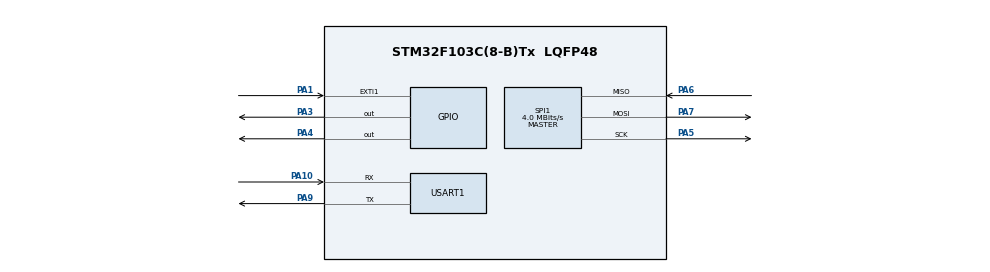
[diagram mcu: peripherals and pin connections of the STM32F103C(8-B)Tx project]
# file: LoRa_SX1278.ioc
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Mcu.Family=STM32F1
Mcu.Name=STM32F103C(8-B)Tx
Mcu.Package=LQFP48
NVIC.EXTI1_IRQn=true\:0\:0\:false\:false\:true\:true\:true\:true
NVIC.PriorityGroup=NVIC_PRIORITYGROUP_4
NVIC.RTC_Alarm_IRQn=true\:0\:0\:false\:false\:true\:true\:true\:true
PA1.Signal=GPXTI1
PA10.Mode=Asynchronous
PA10.Signal=USART1_RX
PA13.Mode=Serial_Wire
PA13.Signal=SYS_JTMS-SWDIO
PA14.Mode=Serial_Wire
PA14.Signal=SYS_JTCK-SWCLK
PA3.Signal=GPIO_Output
PA4.Signal=GPIO_Output
PA5.Mode=Full_Duplex_Master
PA5.Signal=SPI1_SCK
PA6.Mode=Full_Duplex_Master
PA6.Signal=SPI1_MISO
PA7.Mode=Full_Duplex_Master
PA7.Signal=SPI1_MOSI
PA9.Mode=Asynchronous
PA9.Signal=USART1_TX
PC14-OSC32_IN.Mode=LSE-External-Oscillator
PC14-OSC32_IN.Signal=RCC_OSC32_IN
PC15-OSC32_OUT.Mode=LSE-External-Oscillator
PC15-OSC32_OUT.Signal=RCC_OSC32_OUT
PD0-OSC_IN.Mode=HSE-External-Oscillator
PD0-OSC_IN.Signal=RCC_OSC_IN
PD1-OSC_OUT.Mode=HSE-External-Oscillator
PD1-OSC_OUT.Signal=RCC_OSC_OUT
ProjectManager.HeapSize=0x200
ProjectManager.StackSize=0x400
ProjectManager.TargetToolchain=STM32CubeIDE
RCC.APB1Freq_Value=8000000
RCC.APB2Freq_Value=8000000
SPI1.CalculateBaudRate=4.0 MBits/s
SPI1.Direction=SPI_DIRECTION_2LINES
SPI1.Mode=SPI_MODE_MASTER
SPI1.VirtualType=VM_MASTER
USART1.VirtualMode=VM_ASYNC
VP_RTC_VS_RTC_Activate.Mode=RTC_Enabled
VP_RTC_VS_RTC_Calendar.Mode=RTC_Calendar
board=custom

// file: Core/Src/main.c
/* USER CODE BEGIN Header */
/**
  ******************************************************************************
  * @file           : main.c
  * @brief          : Main program body
  ******************************************************************************
  * @attention
  *
  * Copyright (c) 2026 STMicroelectronics.
  * All rights reserved.
  *
  * This software is licensed under terms that can be found in the LICENSE file
  * in the root directory of this software component.
  * If no LICENSE file comes with this software, it is provided AS-IS.
  *
  ******************************************************************************
  */
/* USER CODE END Header */
#include "main.h"

/* USER CODE BEGIN Includes */
#include <stdio.h>
#include <string.h>
/* USER CODE END Includes */

/* USER CODE BEGIN PTD */
typedef struct __attribute__((packed)) {
    uint8_t  header;       // 1 byte: 0x03
    uint8_t  sensor_id;    // 1 byte: ID Nút cảm biến (0x24 = Nút số 36)
    uint8_t  router_id;    // 1 byte: ID Nút cha (0x01)
    int16_t  temperature;  // 2 byte: Nhiệt độ x100
    uint16_t humidity;     // 2 byte: Độ ẩm x100
    uint8_t  soil_moisture;// 1 byte: Độ ẩm đất
} LoRa_Data_Frame_t;
/* USER CODE END PTD */

RTC_HandleTypeDef hrtc;

SPI_HandleTypeDef hspi1;

UART_HandleTypeDef huart1;

/* USER CODE BEGIN PV */
#define MY_GATEWAY_ID 0x00         // Định danh của Trạm Trung Tâm

LoRa_Data_Frame_t rxFrame;
volatile uint8_t rxDoneFlag = 0;
volatile uint8_t txDoneFlag = 0;   // <--- Bổ sung lại dòng này!
char uartBuf[100];
/* USER CODE END PV */

void SystemClock_Config(void);
static void MX_GPIO_Init(void);
static void MX_RTC_Init(void);
static void MX_SPI1_Init(void);
static void MX_USART1_UART_Init(void);

/* USER CODE BEGIN 0 */
// ====================================================================
// DRIVER DHT22 (SỬ DỤNG BỘ ĐẾM DWT)
// ====================================================================
#define DHT_PORT GPIOB
#define DHT_PIN  GPIO_PIN_12

void DWT_Delay_Init(void) {
    CoreDebug->DEMCR |= CoreDebug_DEMCR_TRCENA_Msk;
    DWT->CYCCNT = 0;
    DWT->CTRL |= DWT_CTRL_CYCCNTENA_Msk;
}

void delay_us(uint32_t us) {
    uint32_t startTick = DWT->CYCCNT;
    uint32_t delayTicks = us * (SystemCoreClock / 1000000);
    while (DWT->CYCCNT - startTick < delayTicks);
}

void DHT22_Set_Output(void) {
    GPIO_InitTypeDef GPIO_InitStruct = {0};
    GPIO_InitStruct.Pin = DHT_PIN;
    GPIO_InitStruct.Mode = GPIO_MODE_OUTPUT_PP;
    GPIO_InitStruct.Speed = GPIO_SPEED_FREQ_HIGH;
    HAL_GPIO_Init(DHT_PORT, &GPIO_InitStruct);
}

void DHT22_Set_Input(void) {
    GPIO_InitTypeDef GPIO_InitStruct = {0};
    GPIO_InitStruct.Pin = DHT_PIN;
    GPIO_InitStruct.Mode = GPIO_MODE_INPUT;
    GPIO_InitStruct.Pull = GPIO_NOPULL;
    HAL_GPIO_Init(DHT_PORT, &GPIO_InitStruct);
}

uint8_t DHT22_Read_Data(int16_t *temperature, uint16_t *humidity) {
    uint8_t data[5] = {0}, timeout = 0;
    DHT22_Set_Output();
    HAL_GPIO_WritePin(DHT_PORT, DHT_PIN, GPIO_PIN_RESET); delay_us(1200);
    HAL_GPIO_WritePin(DHT_PORT, DHT_PIN, GPIO_PIN_SET);   delay_us(30);
    DHT22_Set_Input();

    while (HAL_GPIO_ReadPin(DHT_PORT, DHT_PIN) == GPIO_PIN_SET) { if(++timeout > 100) return 0; delay_us(1); }
    timeout=0;
    while (HAL_GPIO_ReadPin(DHT_PORT, DHT_PIN) == GPIO_PIN_RESET) { if(++timeout > 100) return 0; delay_us(1); }
    timeout=0;
    while (HAL_GPIO_ReadPin(DHT_PORT, DHT_PIN) == GPIO_PIN_SET) { if(++timeout > 100) return 0; delay_us(1); }

    for (uint8_t i = 0; i < 5; i++) {
        for (uint8_t j = 0; j < 8; j++) {
            timeout = 0;
            while (HAL_GPIO_ReadPin(DHT_PORT, DHT_PIN) == GPIO_PIN_RESET) { if(++timeout > 100) return 0; delay_us(1); }
            delay_us(40);
            if (HAL_GPIO_ReadPin(DHT_PORT, DHT_PIN) == GPIO_PIN_SET) {
                data[i] = (data[i] << 1) | 0x01; timeout = 0;
                while (HAL_GPIO_ReadPin(DHT_PORT, DHT_PIN) == GPIO_PIN_SET) { if(++timeout > 100) return 0; delay_us(1); }
            } else {
                data[i] = (data[i] << 1);
            }
        }
    }
    if ((uint8_t)(data[0] + data[1] + data[2] + data[3]) == data[4]) {
        *humidity = (data[0] << 8) | data[1];
        *temperature = (data[2] << 8) | data[3];
        return 1;
    }
    return 0;
}

// ====================================================================
// DRIVER LORA SX1278 (433.5MHz, SF8, BW 125kHz)
// ====================================================================
#define SX1278_NSS_LOW()  HAL_GPIO_WritePin(GPIOA, GPIO_PIN_4, GPIO_PIN_RESET)
#define SX1278_NSS_HIGH() HAL_GPIO_WritePin(GPIOA, GPIO_PIN_4, GPIO_PIN_SET)
#define SX1278_RST_LOW()  HAL_GPIO_WritePin(GPIOA, GPIO_PIN_3, GPIO_PIN_RESET)
#define SX1278_RST_HIGH() HAL_GPIO_WritePin(GPIOA, GPIO_PIN_3, GPIO_PIN_SET)

void SX1278_WriteReg(uint8_t regAddr, uint8_t data) {
    SX1278_NSS_LOW();
    uint8_t txAddr = regAddr | 0x80;
    HAL_SPI_Transmit(&hspi1, &txAddr, 1, 100);
    HAL_SPI_Transmit(&hspi1, &data, 1, 100);
    SX1278_NSS_HIGH();
}

uint8_t SX1278_ReadReg(uint8_t regAddr) {
    uint8_t rxData = 0, txAddr = regAddr & 0x7F;
    SX1278_NSS_LOW();
    HAL_SPI_Transmit(&hspi1, &txAddr, 1, 100);
    HAL_SPI_Receive(&hspi1, &rxData, 1, 100);
    SX1278_NSS_HIGH();
    return rxData;
}

void SX1278_Init(void) {
    SX1278_RST_LOW(); HAL_Delay(10); SX1278_RST_HIGH(); HAL_Delay(10);
    SX1278_WriteReg(0x01, 0x80 | 0x00); HAL_Delay(10);
    SX1278_WriteReg(0x06, 0x6C);
    SX1278_WriteReg(0x07, 0x60);
    SX1278_WriteReg(0x08, 0x00);
    SX1278_WriteReg(0x1D, 0x72);
    SX1278_WriteReg(0x1E, 0x84);
    SX1278_WriteReg(0x39, 0x12);
    SX1278_WriteReg(0x01, 0x80 | 0x01);
}

void SX1278_Transmit(LoRa_Data_Frame_t *frame) {
    uint8_t payloadSize = sizeof(LoRa_Data_Frame_t);
    SX1278_WriteReg(0x01, 0x80 | 0x01);
    SX1278_WriteReg(0x40, 0x40);
    SX1278_WriteReg(0x0D, SX1278_ReadReg(0x0E));
    SX1278_WriteReg(0x22, payloadSize);
    uint8_t *dataPtr = (uint8_t *)frame;
    for (uint8_t i = 0; i < payloadSize; i++) SX1278_WriteReg(0x00, dataPtr[i]);
    SX1278_WriteReg(0x01, 0x80 | 0x03);
} // <--- Dấu ngoặc nhọn cực kỳ quan trọng để tách biệt các hàm!

// --- HÀM CHUYỂN MODULE SANG LẮNG NGHE LIÊN TỤC (RX CONTINUOUS) ---
void SX1278_StartReceive(void) {
    SX1278_WriteReg(0x01, 0x80 | 0x01);
    SX1278_WriteReg(0x40, 0x00);
    SX1278_WriteReg(0x01, 0x80 | 0x05);
}

// --- HÀM RÚT DỮ LIỆU TỪ BỘ ĐỆM SAU KHI NHẬN THÀNH CÔNG ---
void SX1278_ReadPayload(LoRa_Data_Frame_t *frame) {
    uint8_t rxBytes = SX1278_ReadReg(0x13);
    uint8_t rxAddr = SX1278_ReadReg(0x10);

    SX1278_WriteReg(0x0D, rxAddr);

    uint8_t *dataPtr = (uint8_t *)frame;
    for (uint8_t i = 0; i < rxBytes; i++) {
        dataPtr[i] = SX1278_ReadReg(0x00);
    }
}
/* USER CODE END 0 */

int main(void)
{

  /* MCU Configuration--------------------------------------------------------*/

  /* Reset of all peripherals, Initializes the Flash interface and the Systick. */
  HAL_Init();

  /* Configure the system clock */
  SystemClock_Config();

  /* Initialize all configured peripherals */
  MX_GPIO_Init();
  MX_RTC_Init();
  MX_SPI1_Init();
  MX_USART1_UART_Init();
  /* USER CODE BEGIN 2 */
    DWT_Delay_Init();
    SX1278_Init();
    SX1278_StartReceive(); // Kích hoạt bộ thu sóng
  /* USER CODE END 2 */

  /* Infinite loop */
    /* USER CODE BEGIN WHILE */
      while (1)
      {
          if (rxDoneFlag == 1) {
              rxDoneFlag = 0;

              // 1. Rút dữ liệu vô tuyến
              SX1278_ReadPayload(&rxFrame);

              // 2. BỘ LỌC CUỐI CÙNG: Nhận dữ liệu đích danh gửi cho Gateway
              if (rxFrame.header == 0x03 && rxFrame.router_id == MY_GATEWAY_ID) {

                  // 3. Tách phần nguyên và phần thập phân (Tránh dùng %f gây lỗi bộ nhớ nhúng)
                  int temp_int = rxFrame.temperature / 100;
                  int temp_frac = rxFrame.temperature % 100;

                  int hum_int = rxFrame.humidity / 100;
                  int hum_frac = rxFrame.humidity % 100;

                  // 4. Đóng gói dữ liệu thành chuỗi văn bản dễ đọc
                  sprintf(uartBuf, "[LORA RX] Node: 0x%02X | Temp: %d.%02d C | Hum: %d.%02d %% | Soil: %d %%\r\n",
                          rxFrame.sensor_id, temp_int, temp_frac, hum_int, hum_frac, rxFrame.soil_moisture);

                  // 5. Bắn chuỗi lên máy tính qua cổng USART1
                  HAL_UART_Transmit(&huart1, (uint8_t*)uartBuf, strlen(uartBuf), 1000);
              }

              // Quay lại trạng thái lắng nghe liên tục
              SX1278_StartReceive();
          }
      /* USER CODE END WHILE */

      }
}

void SystemClock_Config(void)
{
  RCC_OscInitTypeDef RCC_OscInitStruct = {0};
  RCC_ClkInitTypeDef RCC_ClkInitStruct = {0};
  RCC_PeriphCLKInitTypeDef PeriphClkInit = {0};

  /** Initializes the RCC Oscillators according to the specified parameters
  * in the RCC_OscInitTypeDef structure.
  */
  RCC_OscInitStruct.OscillatorType = RCC_OSCILLATORTYPE_HSI|RCC_OSCILLATORTYPE_LSI;
  RCC_OscInitStruct.HSIState = RCC_HSI_ON;
  RCC_OscInitStruct.HSICalibrationValue = RCC_HSICALIBRATION_DEFAULT;
  RCC_OscInitStruct.LSIState = RCC_LSI_ON;
  RCC_OscInitStruct.PLL.PLLState = RCC_PLL_NONE;
  if (HAL_RCC_OscConfig(&RCC_OscInitStruct) != HAL_OK)
  {
    Error_Handler();
  }

  /** Initializes the CPU, AHB and APB buses clocks
  */
  RCC_ClkInitStruct.ClockType = RCC_CLOCKTYPE_HCLK|RCC_CLOCKTYPE_SYSCLK
                              |RCC_CLOCKTYPE_PCLK1|RCC_CLOCKTYPE_PCLK2;
  RCC_ClkInitStruct.SYSCLKSource = RCC_SYSCLKSOURCE_HSI;
  RCC_ClkInitStruct.AHBCLKDivider = RCC_SYSCLK_DIV1;
  RCC_ClkInitStruct.APB1CLKDivider = RCC_HCLK_DIV1;
  RCC_ClkInitStruct.APB2CLKDivider = RCC_HCLK_DIV1;

  if (HAL_RCC_ClockConfig(&RCC_ClkInitStruct, FLASH_LATENCY_0) != HAL_OK)
  {
    Error_Handler();
  }
  PeriphClkInit.PeriphClockSelection = RCC_PERIPHCLK_RTC;
  PeriphClkInit.RTCClockSelection = RCC_RTCCLKSOURCE_LSI;
  if (HAL_RCCEx_PeriphCLKConfig(&PeriphClkInit) != HAL_OK)
  {
    Error_Handler();
  }
}

static void MX_RTC_Init(void)
{

  RTC_TimeTypeDef sTime = {0};
  RTC_DateTypeDef DateToUpdate = {0};

  /** Initialize RTC Only
  */
  hrtc.Instance = RTC;
  hrtc.Init.AsynchPrediv = RTC_AUTO_1_SECOND;
  hrtc.Init.OutPut = RTC_OUTPUTSOURCE_ALARM;
  if (HAL_RTC_Init(&hrtc) != HAL_OK)
  {
    Error_Handler();
  }

  /** Initialize RTC and set the Time and Date
  */
  sTime.Hours = 0x0;
  sTime.Minutes = 0x0;
  sTime.Seconds = 0x0;

  if (HAL_RTC_SetTime(&hrtc, &sTime, RTC_FORMAT_BCD) != HAL_OK)
  {
    Error_Handler();
  }
  DateToUpdate.WeekDay = RTC_WEEKDAY_MONDAY;
  DateToUpdate.Month = RTC_MONTH_JANUARY;
  DateToUpdate.Date = 0x1;
  DateToUpdate.Year = 0x0;

  if (HAL_RTC_SetDate(&hrtc, &DateToUpdate, RTC_FORMAT_BCD) != HAL_OK)
  {
    Error_Handler();
  }

}

static void MX_SPI1_Init(void)
{

  /* SPI1 parameter configuration*/
  hspi1.Instance = SPI1;
  hspi1.Init.Mode = SPI_MODE_MASTER;
  hspi1.Init.Direction = SPI_DIRECTION_2LINES;
  hspi1.Init.DataSize = SPI_DATASIZE_8BIT;
  hspi1.Init.CLKPolarity = SPI_POLARITY_LOW;
  hspi1.Init.CLKPhase = SPI_PHASE_1EDGE;
  hspi1.Init.NSS = SPI_NSS_SOFT;
  hspi1.Init.BaudRatePrescaler = SPI_BAUDRATEPRESCALER_2;
  hspi1.Init.FirstBit = SPI_FIRSTBIT_MSB;
  hspi1.Init.TIMode = SPI_TIMODE_DISABLE;
  hspi1.Init.CRCCalculation = SPI_CRCCALCULATION_DISABLE;
  hspi1.Init.CRCPolynomial = 10;
  if (HAL_SPI_Init(&hspi1) != HAL_OK)
  {
    Error_Handler();
  }

}

static void MX_USART1_UART_Init(void)
{

  huart1.Instance = USART1;
  huart1.Init.BaudRate = 115200;
  huart1.Init.WordLength = UART_WORDLENGTH_8B;
  huart1.Init.StopBits = UART_STOPBITS_1;
  huart1.Init.Parity = UART_PARITY_NONE;
  huart1.Init.Mode = UART_MODE_TX_RX;
  huart1.Init.HwFlowCtl = UART_HWCONTROL_NONE;
  huart1.Init.OverSampling = UART_OVERSAMPLING_16;
  if (HAL_UART_Init(&huart1) != HAL_OK)
  {
    Error_Handler();
  }

}

static void MX_GPIO_Init(void)
{
  GPIO_InitTypeDef GPIO_InitStruct = {0};

  /* GPIO Ports Clock Enable */
  __HAL_RCC_GPIOC_CLK_ENABLE();
  __HAL_RCC_GPIOD_CLK_ENABLE();
  __HAL_RCC_GPIOA_CLK_ENABLE();

  /*Configure GPIO pin Output Level */
  HAL_GPIO_WritePin(GPIOA, GPIO_PIN_3|GPIO_PIN_4, GPIO_PIN_RESET);

  /*Configure GPIO pin : PA1 */
  GPIO_InitStruct.Pin = GPIO_PIN_1;
  GPIO_InitStruct.Mode = GPIO_MODE_IT_RISING;
  GPIO_InitStruct.Pull = GPIO_NOPULL;
  HAL_GPIO_Init(GPIOA, &GPIO_InitStruct);

  /*Configure GPIO pins : PA3 PA4 */
  GPIO_InitStruct.Pin = GPIO_PIN_3|GPIO_PIN_4;
  GPIO_InitStruct.Mode = GPIO_MODE_OUTPUT_PP;
  GPIO_InitStruct.Pull = GPIO_NOPULL;
  GPIO_InitStruct.Speed = GPIO_SPEED_FREQ_LOW;
  HAL_GPIO_Init(GPIOA, &GPIO_InitStruct);

  /* EXTI interrupt init*/
  HAL_NVIC_SetPriority(EXTI1_IRQn, 0, 0);
  HAL_NVIC_EnableIRQ(EXTI1_IRQn);

}

/* USER CODE BEGIN 4 */
void HAL_GPIO_EXTI_Callback(uint16_t GPIO_Pin) {
    if (GPIO_Pin == GPIO_PIN_1) {
        uint8_t irqFlags = SX1278_ReadReg(0x12); // Đọc thanh ghi trạng thái

        // NẾU LÀ SỰ KIỆN PHÁT XONG (Bit 3)
        if ((irqFlags & 0x08) != 0) {
            txDoneFlag = 1;
        }

        // NẾU LÀ SỰ KIỆN NHẬN XONG (Bit 6)
        if ((irqFlags & 0x40) != 0) {
            rxDoneFlag = 1;
        }

        SX1278_WriteReg(0x12, 0xFF); // Xóa toàn bộ cờ ngắt
    }
}
void HAL_RTC_AlarmAEventCallback(RTC_HandleTypeDef *hrtc) {
}
/* USER CODE END 4 */

void Error_Handler(void)
{
  __disable_irq();
  while (1)
  {
  }
}
